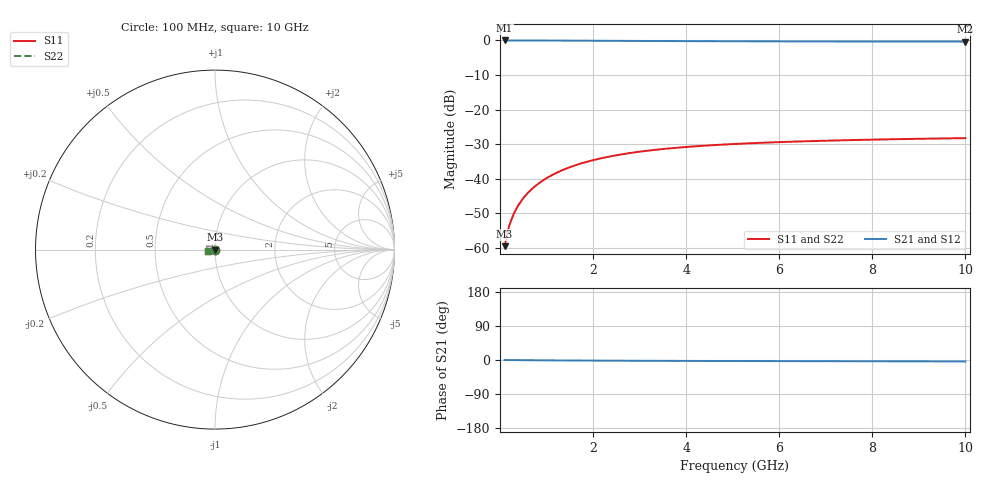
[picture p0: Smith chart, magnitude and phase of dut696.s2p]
! Touchstone file exported from HFSS 2024.1.0
!  File:  C:/UserFiles/LocalFiles/RDL_TSV_Batchsim/temp_TSV1_696_1779796687.aedt
!  Generated:  08:03:20 PM May 26, 2026
!  Design:  TSV1
!  Project:  temp_TSV1_696_1779796687
!  Setup:  Setup1
!  Solution:  Sweep
! Variables:
!  dtsv = 12um
!  hbump = 3um
!  htsv = 56.44um
!  lrdl = 252.1521522um
!  p = 40
!  p1 = 46.45um
!  t = 500um
!  trdl = 3um
!  wrdl = 24.89489489um
# GHz S MA R 50.000000
! Terminal data exported
! Port[1] = TSV22_T1
! Port[2] = TSV22_T2
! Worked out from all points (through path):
!   100 points, 100 MHz to 10 GHz, reference 50 ohm
!   highest |S21| = 0.00 dB at 100 MHz (marker M1); lowest = -0.3 dB at 10 GHz (marker M2)
!   lowest |S11| = -59.6 dB at 100 MHz (marker M3), VSWR 1.00, Z = 50 - j0.105 ohm
!   |S11| at or under -10 dB: start of sweep to end of sweep
!   |S22| runs from -59.6 to -28.3 dB; largest |S21 - S12| = 3.1e-15
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0.1  0.00105 -87.1  0.9999 -0.1  0.9999 -0.1  0.00105 -87.1
! Gamma 0 0 0 0
! Port Impedance 50 0 50 0
0.2  0.002094 -91.0  0.9998 -0.2  0.9998 -0.2  0.002094 -91.0
0.3  0.003134 -93.4  0.9996 -0.3  0.9996 -0.3  0.003134 -93.4
0.4  0.004168 -95.5  0.9994 -0.4  0.9994 -0.4  0.004168 -95.5
0.5  0.005194 -97.3  0.9991 -0.5  0.9991 -0.5  0.005194 -97.3
0.6  0.00621 -99.1  0.9988 -0.6  0.9988 -0.6  0.00621 -99.1
0.7  0.007213 -100.8  0.9984 -0.6  0.9984 -0.6  0.007213 -100.8
0.8  0.008201 -102.4  0.998 -0.7  0.998 -0.7  0.008201 -102.4
0.9  0.009174 -104.0  0.9975 -0.8  0.9975 -0.8  0.009174 -104.0
1.1  0.01106 -107.2  0.9964 -1.0  0.9964 -1.0  0.01106 -107.2
1.4  0.01374 -111.6  0.9946 -1.2  0.9946 -1.2  0.01374 -111.6
1.6  0.01542 -114.4  0.9933 -1.3  0.9933 -1.3  0.01542 -114.4
1.8  0.01699 -117.1  0.9919 -1.5  0.9919 -1.5  0.01699 -117.1
2.1  0.01918 -120.9  0.9898 -1.6  0.9898 -1.6  0.01918 -120.9
2.5  0.02176 -125.6  0.9871 -1.8  0.9871 -1.8  0.02176 -125.6
2.9  0.02399 -129.8  0.9844 -2.0  0.9844 -2.0  0.02399 -129.8
3.4  0.02636 -134.5  0.9813 -2.2  0.9813 -2.2  0.02636 -134.5
4.2  0.02934 -140.9  0.977 -2.5  0.977 -2.5  0.02934 -140.9
5.1  0.03183 -146.8  0.9731 -2.7  0.9731 -2.7  0.03183 -146.8
6.7  0.0349 -154.9  0.9679 -3.1  0.9679 -3.1  0.0349 -154.9
8.4  0.03706 -161.6  0.9642 -3.4  0.9642 -3.4  0.03706 -161.6
10  0.0385 -166.8  0.9618 -3.8  0.9618 -3.8  0.0385 -166.8
